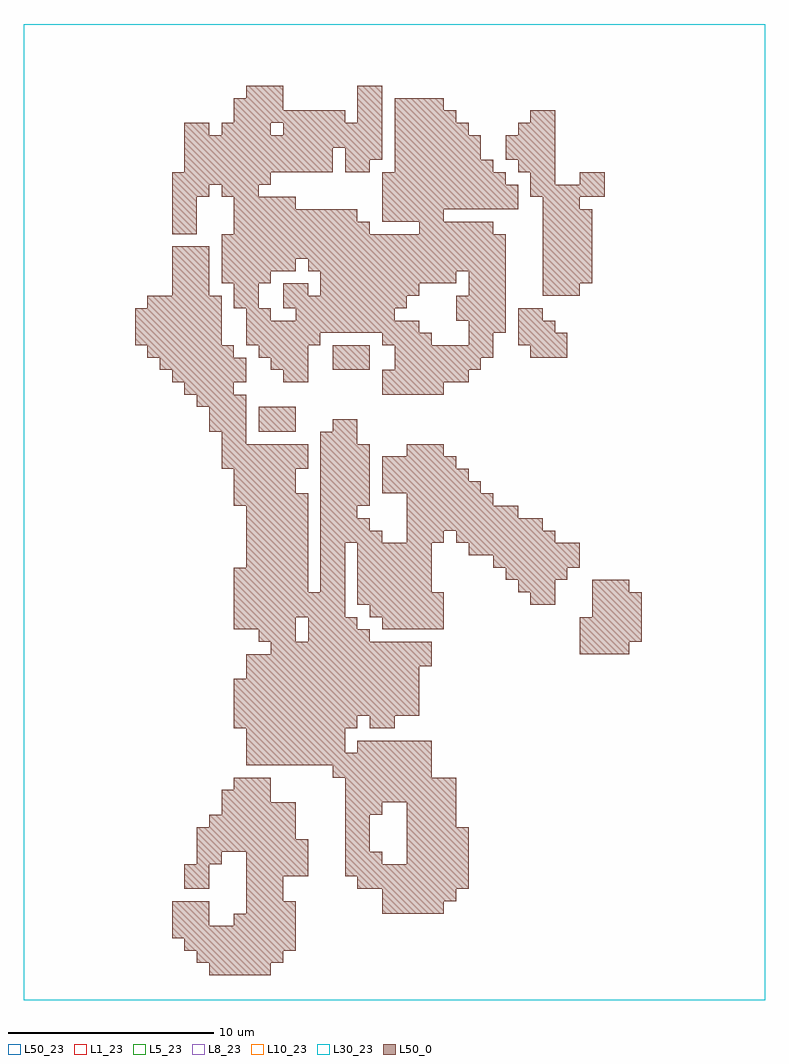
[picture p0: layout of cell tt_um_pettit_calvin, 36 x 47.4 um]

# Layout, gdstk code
import gdstk
lib = gdstk.Library(unit=1e-6, precision=1e-09)
def R(c, l, rs):  # rectangles x0, y0, x1, y1
    for r in rs: c.add(gdstk.rectangle(r[:2], r[2:], *l))
def A(c, l, x, y, w, h, nx, ny, dx, dy):  # array of equal rectangles
    R(c, l, [(x+i*dx, y+j*dy, x+i*dx+w, y+j*dy+h) for i in range(nx) for j in range(ny)])
L1_23 = (1, 23)
L5_23 = (5, 23)
L8_23 = (8, 23)
L10_23 = (10, 23)
L30_23 = (30, 23)
L50_0 = (50, 0)
L50_23 = (50, 23)

tt_um_pettit_calvin = lib.new_cell('tt_um_pettit_calvin')
R(tt_um_pettit_calvin, L1_23, [(0,0,36,47.4)])
R(tt_um_pettit_calvin, L5_23, [(0,0,36,47.4)])
R(tt_um_pettit_calvin, L8_23, [(0,0,36,47.4)])
R(tt_um_pettit_calvin, L10_23, [(0,0,36,47.4)])
R(tt_um_pettit_calvin, L30_23, [(0,0,36,47.4)])
A(tt_um_pettit_calvin, L50_0, 18.6, 6.6, 3, 0.6, 1, 3, 0, 0.6)
A(tt_um_pettit_calvin, L50_0, 15.6, 7.2, 1.2, 0.6, 1, 3, 0, 0.6)
A(tt_um_pettit_calvin, L50_0, 10.2, 13.8, 9, 0.6, 1, 3, 0, 0.6)
A(tt_um_pettit_calvin, L50_0, 14.4, 19.8, 1.2, 0.6, 1, 4, 0, 0.6)
A(tt_um_pettit_calvin, L50_0, 16.2, 19.8, 3.6, 0.6, 1, 4, 0, 0.6)
A(tt_um_pettit_calvin, L50_0, 10.8, 21, 3, 0.6, 1, 5, 0, 0.6)
A(tt_um_pettit_calvin, L50_0, 14.4, 24, 2.4, 0.6, 1, 5, 0, 0.6)
A(tt_um_pettit_calvin, L50_0, 5.4, 31.8, 4.2, 0.6, 1, 3, 0, 0.6)
A(tt_um_pettit_calvin, L50_0, 7.2, 34.2, 1.8, 0.6, 1, 4, 0, 0.6)
A(tt_um_pettit_calvin, L50_0, 25.2, 34.8, 2.4, 0.6, 1, 6, 0, 0.6)
A(tt_um_pettit_calvin, L50_0, 7.2, 37.2, 1.2, 0.6, 1, 3, 0, 0.6)
A(tt_um_pettit_calvin, L50_0, 16.2, 42.6, 1.2, 0.6, 1, 3, 0, 0.6)
R(tt_um_pettit_calvin, L50_0, [(9,1.2,12,1.8), (8.4,1.8,12.6,2.4), (7.8,2.4,13.2,3), (7.2,3,13.2,3.6), (7.2,3.6,9,4.2), (10.2,3.6,13.2,4.2), (7.2,4.2,9,4.8), (10.8,4.2,13.2,4.8), (17.4,4.2,20.4,4.8), (10.8,4.8,12.6,5.4), (17.4,4.8,21,5.4), (7.8,5.4,9,6), (10.8,5.4,12.6,6), (16.2,5.4,21.6,6), (7.8,6,9,6.6), (10.8,6,13.8,6.6), (15.6,6,21.6,6.6), (8.4,6.6,9.6,7.2), (10.8,6.6,13.8,7.2), (15.6,6.6,17.4,7.2), (8.4,7.2,13.8,7.8), (8.4,7.8,13.2,8.4), (9,8.4,13.2,9), (18.6,8.4,21,9), (9.6,9,13.2,9.6), (15.6,9,17.4,9.6), (18.6,9,21,9.6), (9.6,9.6,12,10.2), (15.6,9.6,21,10.2), (10.2,10.2,12,10.8), (15.6,10.2,21,10.8), (15,10.8,19.8,11.4), (10.8,11.4,19.8,12), (10.8,12,15.6,12.6), (16.2,12,19.8,12.6), (10.8,12.6,15.6,13.2), (10.2,13.2,16.2,13.8), (16.8,13.2,18,13.8), (10.8,15.6,19.2,16.2), (10.8,16.2,19.8,16.8), (12,16.8,19.8,17.4), (27,16.8,29.4,17.4), (11.4,17.4,13.2,18), (13.8,17.4,16.8,18), (27,17.4,30,18), (10.2,18,13.2,18.6), (13.8,18,16.2,18.6), (17.4,18,20.4,18.6), (27,18,30,18.6), (10.2,18.6,15.6,19.2), (16.8,18.6,20.4,19.2), (27.6,18.6,30,19.2), (10.2,19.2,15.6,19.8), (16.2,19.2,20.4,19.8), (24.6,19.2,25.8,19.8), (27.6,19.2,30,19.8), (10.2,19.8,13.8,20.4), (24,19.8,25.8,20.4), (27.6,19.8,29.4,20.4), (10.2,20.4,13.8,21), (23.4,20.4,26.4,21), (22.8,21,27,21.6), (21.6,21.6,27,22.2), (14.4,22.2,17.4,22.8), (18.6,22.2,20.4,22.8), (21,22.2,25.8,22.8), (14.4,22.8,16.8,23.4), (18.6,22.8,25.2,23.4), (14.4,23.4,16.2,24), (18.6,23.4,24,24), (10.2,24,13.8,24.6), (18.6,24,22.8,24.6), (10.2,24.6,13.2,25.2), (17.4,24.6,22.2,25.2), (10.2,25.2,13.2,25.8), (17.4,25.2,21.6,25.8), (9.6,25.8,13.8,26.4), (17.4,25.8,21,26.4), (9.6,26.4,13.8,27), (18.6,26.4,20.4,27), (9.6,27,10.8,27.6), (14.4,27,16.2,27.6), (9,27.6,10.8,28.2), (11.4,27.6,13.2,28.2), (15,27.6,16.2,28.2), (9,28.2,10.8,28.8), (11.4,28.2,13.2,28.8), (8.4,28.8,10.8,29.4), (7.8,29.4,10.2,30), (17.4,29.4,20.4,30), (7.2,30,10.8,30.6), (12.6,30,13.8,30.6), (17.4,30,21.6,30.6), (6.6,30.6,10.8,31.2), (12,30.6,13.8,31.2), (15,30.6,16.8,31.2), (18,30.6,22.2,31.2), (6,31.2,10.2,31.8), (11.4,31.2,13.8,31.8), (15,31.2,16.8,31.8), (18,31.2,22.8,31.8), (24.6,31.2,26.4,31.8), (10.8,31.8,14.4,32.4), (17.4,31.8,19.8,32.4), (21.6,31.8,22.8,32.4), (24,31.8,26.4,32.4), (10.8,32.4,19.2,33), (21.6,32.4,23.4,33), (24,32.4,25.8,33), (10.8,33,12,33.6), (13.2,33,18,33.6), (21,33,23.4,33.6), (24,33,25.2,33.6), (6,33.6,9.6,34.2), (10.2,33.6,11.4,34.2), (12.6,33.6,18.6,34.2), (21,33.6,23.4,34.2), (10.2,34.2,11.4,34.8), (12.6,34.2,13.8,34.8), (14.4,34.2,19.2,34.8), (21.6,34.2,23.4,34.8), (25.2,34.2,27,34.8), (9.6,34.8,12,35.4), (14.4,34.8,21,35.4), (21.6,34.8,23.4,35.4), (9.6,35.4,13.2,36), (13.8,35.4,23.4,36), (9.6,36,23.4,36.6), (9.6,36.6,23.4,37.2), (10.2,37.2,16.8,37.8), (19.2,37.2,22.8,37.8), (10.2,37.8,16.2,38.4), (17.4,37.8,20.4,38.4), (10.2,38.4,13.2,39), (17.4,38.4,24,39), (25.2,38.4,27,39), (7.2,39,9,39.6), (9.6,39,11.4,39.6), (17.4,39,24,39.6), (24.6,39,28.2,39.6), (7.2,39.6,12,40.2), (17.4,39.6,23.4,40.2), (24.6,39.6,25.8,40.2), (27,39.6,28.2,40.2), (7.8,40.2,15,40.8), (15.6,40.2,16.8,40.8), (18,40.2,22.8,40.8), (24,40.2,25.8,40.8), (7.8,40.8,15,41.4), (15.6,40.8,17.4,41.4), (18,40.8,22.2,41.4), (23.4,40.8,25.8,41.4), (7.8,41.4,17.4,42), (18,41.4,22.2,42), (23.4,41.4,25.8,42), (7.8,42,9,42.6), (9.6,42,12,42.6), (12.6,42,17.4,42.6), (18,42,21.6,42.6), (24,42,25.8,42.6), (10.2,42.6,15.6,43.2), (18,42.6,21,43.2), (24.6,42.6,25.8,43.2), (10.2,43.2,12.6,43.8), (18,43.2,20.4,43.8), (10.8,43.8,12.6,44.4)])
R(tt_um_pettit_calvin, L50_23, [(0,0,36,47.4)])

lib.write_gds('tt_um_pettit_calvin.gds')
